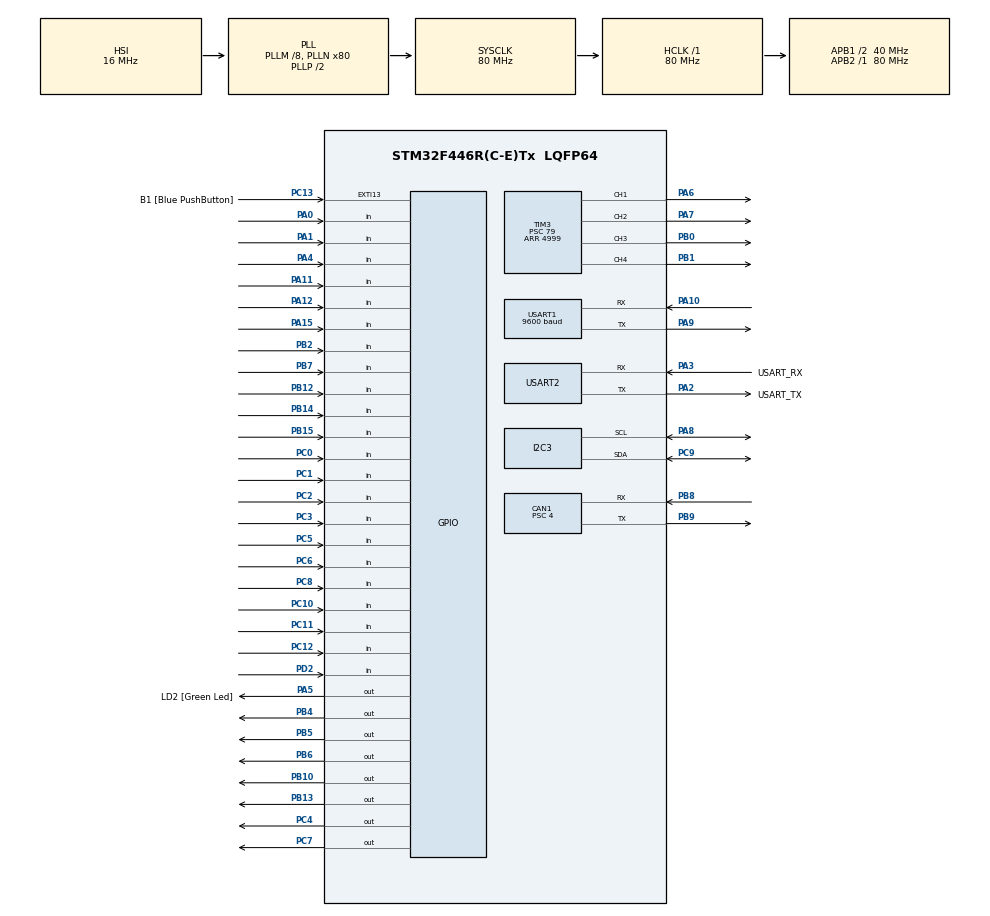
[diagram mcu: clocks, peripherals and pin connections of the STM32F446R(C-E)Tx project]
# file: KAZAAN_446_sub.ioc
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CAN1.BS1=CAN_BS1_15TQ
CAN1.BS2=CAN_BS2_4TQ
CAN1.CalculateBaudRate=500000
CAN1.CalculateTimeBit=2000.00
CAN1.CalculateTimeQuantum=100.0
CAN1.Prescaler=4
Dma.I2C3_RX.4.Direction=DMA_PERIPH_TO_MEMORY
Dma.I2C3_RX.4.FIFOMode=DMA_FIFOMODE_DISABLE
Dma.I2C3_RX.4.Instance=DMA1_Stream1
Dma.I2C3_RX.4.MemDataAlignment=DMA_MDATAALIGN_BYTE
Dma.I2C3_RX.4.MemInc=DMA_MINC_ENABLE
Dma.I2C3_RX.4.Mode=DMA_NORMAL
Dma.I2C3_RX.4.PeriphDataAlignment=DMA_PDATAALIGN_BYTE
Dma.I2C3_RX.4.PeriphInc=DMA_PINC_DISABLE
Dma.I2C3_RX.4.Priority=DMA_PRIORITY_LOW
Dma.I2C3_TX.5.Direction=DMA_MEMORY_TO_PERIPH
Dma.I2C3_TX.5.FIFOMode=DMA_FIFOMODE_DISABLE
Dma.I2C3_TX.5.Instance=DMA1_Stream4
Dma.I2C3_TX.5.MemDataAlignment=DMA_MDATAALIGN_BYTE
Dma.I2C3_TX.5.MemInc=DMA_MINC_ENABLE
Dma.I2C3_TX.5.Mode=DMA_NORMAL
Dma.I2C3_TX.5.PeriphDataAlignment=DMA_PDATAALIGN_BYTE
Dma.I2C3_TX.5.PeriphInc=DMA_PINC_DISABLE
Dma.I2C3_TX.5.Priority=DMA_PRIORITY_LOW
Dma.Request0=USART1_RX
Dma.Request1=USART1_TX
Dma.Request2=USART2_RX
Dma.Request3=USART2_TX
Dma.Request4=I2C3_RX
Dma.Request5=I2C3_TX
Dma.USART1_RX.0.Direction=DMA_PERIPH_TO_MEMORY
Dma.USART1_RX.0.FIFOMode=DMA_FIFOMODE_DISABLE
Dma.USART1_RX.0.Instance=DMA2_Stream2
Dma.USART1_RX.0.MemDataAlignment=DMA_MDATAALIGN_BYTE
Dma.USART1_RX.0.MemInc=DMA_MINC_ENABLE
Dma.USART1_RX.0.Mode=DMA_NORMAL
Dma.USART1_RX.0.PeriphDataAlignment=DMA_PDATAALIGN_BYTE
Dma.USART1_RX.0.PeriphInc=DMA_PINC_DISABLE
Dma.USART1_RX.0.Priority=DMA_PRIORITY_LOW
Dma.USART1_TX.1.Direction=DMA_MEMORY_TO_PERIPH
Dma.USART1_TX.1.FIFOMode=DMA_FIFOMODE_DISABLE
Dma.USART1_TX.1.Instance=DMA2_Stream7
Dma.USART1_TX.1.MemDataAlignment=DMA_MDATAALIGN_BYTE
Dma.USART1_TX.1.MemInc=DMA_MINC_ENABLE
Dma.USART1_TX.1.Mode=DMA_NORMAL
Dma.USART1_TX.1.PeriphDataAlignment=DMA_PDATAALIGN_BYTE
Dma.USART1_TX.1.PeriphInc=DMA_PINC_DISABLE
Dma.USART1_TX.1.Priority=DMA_PRIORITY_LOW
Dma.USART2_RX.2.Direction=DMA_PERIPH_TO_MEMORY
Dma.USART2_RX.2.FIFOMode=DMA_FIFOMODE_DISABLE
Dma.USART2_RX.2.Instance=DMA1_Stream5
Dma.USART2_RX.2.MemDataAlignment=DMA_MDATAALIGN_BYTE
Dma.USART2_RX.2.MemInc=DMA_MINC_ENABLE
Dma.USART2_RX.2.Mode=DMA_NORMAL
Dma.USART2_RX.2.PeriphDataAlignment=DMA_PDATAALIGN_BYTE
Dma.USART2_RX.2.PeriphInc=DMA_PINC_DISABLE
Dma.USART2_RX.2.Priority=DMA_PRIORITY_LOW
Dma.USART2_TX.3.Direction=DMA_MEMORY_TO_PERIPH
Dma.USART2_TX.3.FIFOMode=DMA_FIFOMODE_DISABLE
Dma.USART2_TX.3.Instance=DMA1_Stream6
Dma.USART2_TX.3.MemDataAlignment=DMA_MDATAALIGN_BYTE
Dma.USART2_TX.3.MemInc=DMA_MINC_ENABLE
Dma.USART2_TX.3.Mode=DMA_NORMAL
Dma.USART2_TX.3.PeriphDataAlignment=DMA_PDATAALIGN_BYTE
Dma.USART2_TX.3.PeriphInc=DMA_PINC_DISABLE
Dma.USART2_TX.3.Priority=DMA_PRIORITY_LOW
Mcu.Family=STM32F4
Mcu.Name=STM32F446R(C-E)Tx
Mcu.Package=LQFP64
NVIC.CAN1_RX0_IRQn=true\:0\:0\:false\:false\:true\:true\:true
NVIC.CAN1_RX1_IRQn=true\:0\:0\:false\:false\:true\:true\:true
NVIC.CAN1_SCE_IRQn=true\:0\:0\:false\:false\:true\:true\:true
NVIC.CAN1_TX_IRQn=true\:0\:0\:false\:false\:true\:true\:true
NVIC.DMA1_Stream1_IRQn=true\:0\:0\:false\:false\:true\:false\:true
NVIC.DMA1_Stream4_IRQn=true\:0\:0\:false\:false\:true\:false\:true
NVIC.DMA1_Stream5_IRQn=true\:0\:0\:false\:false\:true\:false\:true
NVIC.DMA1_Stream6_IRQn=true\:0\:0\:false\:false\:true\:false\:true
NVIC.DMA2_Stream2_IRQn=true\:0\:0\:false\:false\:true\:false\:true
NVIC.DMA2_Stream7_IRQn=true\:0\:0\:false\:false\:true\:false\:true
NVIC.I2C3_ER_IRQn=true\:0\:0\:false\:false\:true\:true\:true
NVIC.I2C3_EV_IRQn=true\:0\:0\:false\:false\:true\:true\:true
NVIC.PriorityGroup=NVIC_PRIORITYGROUP_0
NVIC.USART1_IRQn=true\:0\:0\:false\:false\:true\:true\:true
NVIC.USART2_IRQn=true\:0\:0\:false\:false\:true\:true\:true
PA0-WKUP.GPIO_PuPd=GPIO_PULLUP
PA0-WKUP.Signal=GPIO_Input
PA1.GPIO_PuPd=GPIO_PULLUP
PA1.Signal=GPIO_Input
PA10.Mode=Asynchronous
PA10.Signal=USART1_RX
PA11.GPIO_PuPd=GPIO_PULLUP
PA11.Signal=GPIO_Input
PA12.GPIO_PuPd=GPIO_PULLUP
PA12.Signal=GPIO_Input
PA13.GPIO_Label=TMS
PA13.Mode=Serial_Wire
PA13.Signal=SYS_JTMS-SWDIO
PA14.GPIO_Label=TCK
PA14.Mode=Serial_Wire
PA14.Signal=SYS_JTCK-SWCLK
PA15.GPIO_PuPd=GPIO_PULLUP
PA15.Signal=GPIO_Input
PA2.GPIO_Label=USART_TX
PA2.Mode=Asynchronous
PA2.Signal=USART2_TX
PA3.GPIO_Label=USART_RX
PA3.Mode=Asynchronous
PA3.Signal=USART2_RX
PA4.GPIO_PuPd=GPIO_PULLUP
PA4.Signal=GPIO_Input
PA5.GPIO_Label=LD2 [Green Led]
PA5.Signal=GPIO_Output
PA6.Signal=S_TIM3_CH1
PA7.Signal=S_TIM3_CH2
PA8.Mode=I2C
PA8.Signal=I2C3_SCL
PA9.Mode=Asynchronous
PA9.Signal=USART1_TX
PB0.Signal=S_TIM3_CH3
PB1.Signal=S_TIM3_CH4
PB10.Signal=GPIO_Output
PB12.GPIO_PuPd=GPIO_PULLUP
PB12.Signal=GPIO_Input
PB13.Signal=GPIO_Output
PB14.GPIO_PuPd=GPIO_PULLUP
PB14.Signal=GPIO_Input
PB15.GPIO_PuPd=GPIO_PULLUP
PB15.Signal=GPIO_Input
PB2.GPIO_PuPd=GPIO_PULLUP
PB2.Signal=GPIO_Input
PB3.GPIO_Label=SWO
PB3.Signal=SYS_JTDO-SWO
PB4.Signal=GPIO_Output
PB5.Signal=GPIO_Output
PB6.Signal=GPIO_Output
PB7.GPIO_PuPd=GPIO_PULLUP
PB7.Signal=GPIO_Input
PB8.Mode=CAN_Activate
PB8.Signal=CAN1_RX
PB9.Mode=CAN_Activate
PB9.Signal=CAN1_TX
PC0.GPIO_PuPd=GPIO_PULLUP
PC0.Signal=GPIO_Input
PC1.GPIO_PuPd=GPIO_PULLUP
PC1.Signal=GPIO_Input
PC10.GPIO_PuPd=GPIO_PULLUP
PC10.Signal=GPIO_Input
PC11.GPIO_PuPd=GPIO_PULLUP
PC11.Signal=GPIO_Input
PC12.GPIO_PuPd=GPIO_PULLUP
PC12.Signal=GPIO_Input
PC13.GPIO_Label=B1 [Blue PushButton]
PC13.GPIO_ModeDefaultEXTI=GPIO_MODE_IT_FALLING
PC13.Signal=GPXTI13
PC14-OSC32_IN.Mode=LSE-External-Oscillator
PC14-OSC32_IN.Signal=RCC_OSC32_IN
PC15-OSC32_OUT.Mode=LSE-External-Oscillator
PC15-OSC32_OUT.Signal=RCC_OSC32_OUT
PC2.GPIO_PuPd=GPIO_PULLUP
PC2.Signal=GPIO_Input
PC3.GPIO_PuPd=GPIO_PULLUP
PC3.Signal=GPIO_Input
PC4.Signal=GPIO_Output
PC5.GPIO_PuPd=GPIO_PULLUP
PC5.Signal=GPIO_Input
PC6.GPIO_PuPd=GPIO_PULLUP
PC6.Signal=GPIO_Input
PC7.Signal=GPIO_Output
PC8.GPIO_PuPd=GPIO_PULLUP
PC8.Signal=GPIO_Input
PC9.Mode=I2C
PC9.Signal=I2C3_SDA
PD2.GPIO_PuPd=GPIO_PULLUP
PD2.Signal=GPIO_Input
PH0-OSC_IN.Mode=HSE-External-Oscillator
PH0-OSC_IN.Signal=RCC_OSC_IN
PH1-OSC_OUT.Mode=HSE-External-Oscillator
PH1-OSC_OUT.Signal=RCC_OSC_OUT
ProjectManager.HeapSize=0x200
ProjectManager.StackSize=0x400
ProjectManager.TargetToolchain=STM32CubeIDE
RCC.48MHZClocksFreq_Value=84000000
RCC.AHBFreq_Value=80000000
RCC.APB1CLKDivider=RCC_HCLK_DIV2
RCC.APB1Freq_Value=40000000
RCC.APB1TimFreq_Value=80000000
RCC.APB2Freq_Value=80000000
RCC.APB2TimFreq_Value=80000000
RCC.CortexFreq_Value=80000000
RCC.FLatency-AdvancedSettings=FLASH_LATENCY_2
RCC.HCLKFreq_Value=80000000
RCC.HSE_VALUE=8000000
RCC.HSI_VALUE=16000000
RCC.PLLM=8
RCC.PLLN=80
RCC.SYSCLKFreq_VALUE=80000000
RCC.SYSCLKSource=RCC_SYSCLKSOURCE_PLLCLK
RCC.USBFreq_Value=80000000
RCC.VCOOutputFreq_Value=160000000
SH.S_TIM3_CH1.0=TIM3_CH1,PWM Generation1 CH1
SH.S_TIM3_CH2.0=TIM3_CH2,PWM Generation2 CH2
SH.S_TIM3_CH3.0=TIM3_CH3,PWM Generation3 CH3
SH.S_TIM3_CH4.0=TIM3_CH4,PWM Generation4 CH4
TIM3.Channel-PWM\ Generation1\ CH1=TIM_CHANNEL_1
TIM3.Channel-PWM\ Generation2\ CH2=TIM_CHANNEL_2
TIM3.Channel-PWM\ Generation3\ CH3=TIM_CHANNEL_3
TIM3.Channel-PWM\ Generation4\ CH4=TIM_CHANNEL_4
TIM3.Period=4999
TIM3.Prescaler=79
USART1.BaudRate=9600
USART1.VirtualMode=VM_ASYNC
USART2.VirtualMode=VM_ASYNC
VP_TIM3_VS_ClockSourceINT.Mode=Internal
board=NUCLEO-F446RE

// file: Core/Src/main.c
/* USER CODE BEGIN Header */
/**
  ******************************************************************************
  * @file           : main.c
  * @brief          : Main program body
  ******************************************************************************
  * @attention
  *
  * <h2><center>&copy; Copyright (c) 2023 STMicroelectronics.
  * All rights reserved.</center></h2>
  *
  * This software component is licensed by ST under BSD 3-Clause license,
  * the "License"; You may not use this file except in compliance with the
  * License. You may obtain a copy of the License at:
  *                        opensource.org/licenses/BSD-3-Clause
  *
  ******************************************************************************
  */
/* USER CODE END Header */
#include "main.h"

CAN_HandleTypeDef hcan1;

I2C_HandleTypeDef hi2c3;
DMA_HandleTypeDef hdma_i2c3_rx;
DMA_HandleTypeDef hdma_i2c3_tx;

TIM_HandleTypeDef htim3;

UART_HandleTypeDef huart1;
UART_HandleTypeDef huart2;
DMA_HandleTypeDef hdma_usart1_rx;
DMA_HandleTypeDef hdma_usart1_tx;
DMA_HandleTypeDef hdma_usart2_rx;
DMA_HandleTypeDef hdma_usart2_tx;

/* USER CODE BEGIN PV */
volatile uint32_t G_System_counter = 0;
/* USER CODE END PV */

void SystemClock_Config(void);
static void MX_GPIO_Init(void);
static void MX_DMA_Init(void);
static void MX_USART1_UART_Init(void);
static void MX_USART2_UART_Init(void);
static void MX_TIM3_Init(void);
static void MX_I2C3_Init(void);
static void MX_CAN1_Init(void);

int main(void)
{

  /* MCU Configuration--------------------------------------------------------*/

  /* Reset of all peripherals, Initializes the Flash interface and the Systick. */
  HAL_Init();

  /* Configure the system clock */
  SystemClock_Config();

  /* Initialize all configured peripherals */
  MX_GPIO_Init();
  MX_DMA_Init();
  MX_USART1_UART_Init();
  MX_USART2_UART_Init();
  MX_TIM3_Init();
  MX_I2C3_Init();
  MX_CAN1_Init();
  /* USER CODE BEGIN 2 */
  D_PWM_Init();
  D_CAN_Init();

  appInit();
  /* USER CODE END 2 */

  /* Infinite loop */
  /* USER CODE BEGIN WHILE */
  while (1)
  {
	  appTask();

	  //if(HAL_GPIO_ReadPin(GPIOC,GPIO_PIN_9) == 1){
		  //HAL_GPIO_WritePin(GPIOA,GPIO_PIN_5,GPIO_PIN_SET);
	  //}else if(HAL_GPIO_ReadPin(GPIOC,GPIO_PIN_9) == 0){
		  //HAL_GPIO_WritePin(GPIOA,GPIO_PIN_5,GPIO_PIN_RESET);
	  //}
	  /*if(HAL_GPIO_ReadPin(GPIOC,GPIO_PIN_13) == 0){
		  __HAL_TIM_SET_COMPARE(&htim3, TIM_CHANNEL_4, 50);
		  //__HAL_TIM_SET_COMPARE(&htim3, TIM_CHANNEL_2, 500);
		  HAL_GPIO_WritePin(GPIOC,GPIO_PIN_5,GPIO_PIN_SET);
		  //HAL_GPIO_WritePin(GPIOC,GPIO_PIN_6,GPIO_PIN_SET);
		  HAL_GPIO_WritePin(GPIOA,GPIO_PIN_5,GPIO_PIN_SET);

		  HAL_GPIO_WritePin(GPIOB,GPIO_PIN_14,GPIO_PIN_SET);
		  HAL_GPIO_WritePin(GPIOB,GPIO_PIN_15,GPIO_PIN_RESET);

		  D_Mess_printf("%d\n", G_System_counter);
		  D_Mess_flush();
	  }else if(HAL_GPIO_ReadPin(GPIOC,GPIO_PIN_13) == 1){
		  __HAL_TIM_SET_COMPARE(&htim3, TIM_CHANNEL_4, 2500);
		  //__HAL_TIM_SET_COMPARE(&htim3, TIM_CHANNEL_2, 100);
		  HAL_GPIO_WritePin(GPIOC,GPIO_PIN_5,GPIO_PIN_RESET);
		  HAL_GPIO_WritePin(GPIOC,GPIO_PIN_6,GPIO_PIN_RESET);
		  HAL_GPIO_WritePin(GPIOA,GPIO_PIN_5,GPIO_PIN_RESET);

		  HAL_GPIO_WritePin(GPIOB,GPIO_PIN_14,GPIO_PIN_RESET);
		  HAL_GPIO_WritePin(GPIOB,GPIO_PIN_15,GPIO_PIN_SET);
//		  D_Mess_printf("tes2");
//		  D_Mess_flush();
	  }*/
	  D_Mess_flush();
    /* USER CODE END WHILE */

  }
}

void SystemClock_Config(void)
{
  RCC_OscInitTypeDef RCC_OscInitStruct = {0};
  RCC_ClkInitTypeDef RCC_ClkInitStruct = {0};

  /** Configure the main internal regulator output voltage
  */
  __HAL_RCC_PWR_CLK_ENABLE();
  __HAL_PWR_VOLTAGESCALING_CONFIG(PWR_REGULATOR_VOLTAGE_SCALE3);
  /** Initializes the RCC Oscillators according to the specified parameters
  * in the RCC_OscInitTypeDef structure.
  */
  RCC_OscInitStruct.OscillatorType = RCC_OSCILLATORTYPE_HSI;
  RCC_OscInitStruct.HSIState = RCC_HSI_ON;
  RCC_OscInitStruct.HSICalibrationValue = RCC_HSICALIBRATION_DEFAULT;
  RCC_OscInitStruct.PLL.PLLState = RCC_PLL_ON;
  RCC_OscInitStruct.PLL.PLLSource = RCC_PLLSOURCE_HSI;
  RCC_OscInitStruct.PLL.PLLM = 8;
  RCC_OscInitStruct.PLL.PLLN = 80;
  RCC_OscInitStruct.PLL.PLLP = RCC_PLLP_DIV2;
  RCC_OscInitStruct.PLL.PLLQ = 2;
  RCC_OscInitStruct.PLL.PLLR = 2;
  if (HAL_RCC_OscConfig(&RCC_OscInitStruct) != HAL_OK)
  {
    Error_Handler();
  }
  /** Initializes the CPU, AHB and APB buses clocks
  */
  RCC_ClkInitStruct.ClockType = RCC_CLOCKTYPE_HCLK|RCC_CLOCKTYPE_SYSCLK
                              |RCC_CLOCKTYPE_PCLK1|RCC_CLOCKTYPE_PCLK2;
  RCC_ClkInitStruct.SYSCLKSource = RCC_SYSCLKSOURCE_PLLCLK;
  RCC_ClkInitStruct.AHBCLKDivider = RCC_SYSCLK_DIV1;
  RCC_ClkInitStruct.APB1CLKDivider = RCC_HCLK_DIV2;
  RCC_ClkInitStruct.APB2CLKDivider = RCC_HCLK_DIV1;

  if (HAL_RCC_ClockConfig(&RCC_ClkInitStruct, FLASH_LATENCY_2) != HAL_OK)
  {
    Error_Handler();
  }
}

static void MX_CAN1_Init(void)
{

  hcan1.Instance = CAN1;
  hcan1.Init.Prescaler = 4;
  hcan1.Init.Mode = CAN_MODE_NORMAL;
  hcan1.Init.SyncJumpWidth = CAN_SJW_1TQ;
  hcan1.Init.TimeSeg1 = CAN_BS1_15TQ;
  hcan1.Init.TimeSeg2 = CAN_BS2_4TQ;
  hcan1.Init.TimeTriggeredMode = DISABLE;
  hcan1.Init.AutoBusOff = DISABLE;
  hcan1.Init.AutoWakeUp = DISABLE;
  hcan1.Init.AutoRetransmission = DISABLE;
  hcan1.Init.ReceiveFifoLocked = DISABLE;
  hcan1.Init.TransmitFifoPriority = DISABLE;
  if (HAL_CAN_Init(&hcan1) != HAL_OK)
  {
    Error_Handler();
  }

}

static void MX_I2C3_Init(void)
{

  hi2c3.Instance = I2C3;
  hi2c3.Init.ClockSpeed = 100000;
  hi2c3.Init.DutyCycle = I2C_DUTYCYCLE_2;
  hi2c3.Init.OwnAddress1 = 0;
  hi2c3.Init.AddressingMode = I2C_ADDRESSINGMODE_7BIT;
  hi2c3.Init.DualAddressMode = I2C_DUALADDRESS_DISABLE;
  hi2c3.Init.OwnAddress2 = 0;
  hi2c3.Init.GeneralCallMode = I2C_GENERALCALL_DISABLE;
  hi2c3.Init.NoStretchMode = I2C_NOSTRETCH_DISABLE;
  if (HAL_I2C_Init(&hi2c3) != HAL_OK)
  {
    Error_Handler();
  }

}

static void MX_TIM3_Init(void)
{

  TIM_ClockConfigTypeDef sClockSourceConfig = {0};
  TIM_MasterConfigTypeDef sMasterConfig = {0};
  TIM_OC_InitTypeDef sConfigOC = {0};

  htim3.Instance = TIM3;
  htim3.Init.Prescaler = 79;
  htim3.Init.CounterMode = TIM_COUNTERMODE_UP;
  htim3.Init.Period = 4999;
  htim3.Init.ClockDivision = TIM_CLOCKDIVISION_DIV1;
  htim3.Init.AutoReloadPreload = TIM_AUTORELOAD_PRELOAD_DISABLE;
  if (HAL_TIM_Base_Init(&htim3) != HAL_OK)
  {
    Error_Handler();
  }
  sClockSourceConfig.ClockSource = TIM_CLOCKSOURCE_INTERNAL;
  if (HAL_TIM_ConfigClockSource(&htim3, &sClockSourceConfig) != HAL_OK)
  {
    Error_Handler();
  }
  if (HAL_TIM_PWM_Init(&htim3) != HAL_OK)
  {
    Error_Handler();
  }
  sMasterConfig.MasterOutputTrigger = TIM_TRGO_RESET;
  sMasterConfig.MasterSlaveMode = TIM_MASTERSLAVEMODE_DISABLE;
  if (HAL_TIMEx_MasterConfigSynchronization(&htim3, &sMasterConfig) != HAL_OK)
  {
    Error_Handler();
  }
  sConfigOC.OCMode = TIM_OCMODE_PWM1;
  sConfigOC.Pulse = 0;
  sConfigOC.OCPolarity = TIM_OCPOLARITY_HIGH;
  sConfigOC.OCFastMode = TIM_OCFAST_DISABLE;
  if (HAL_TIM_PWM_ConfigChannel(&htim3, &sConfigOC, TIM_CHANNEL_1) != HAL_OK)
  {
    Error_Handler();
  }
  if (HAL_TIM_PWM_ConfigChannel(&htim3, &sConfigOC, TIM_CHANNEL_2) != HAL_OK)
  {
    Error_Handler();
  }
  if (HAL_TIM_PWM_ConfigChannel(&htim3, &sConfigOC, TIM_CHANNEL_3) != HAL_OK)
  {
    Error_Handler();
  }
  if (HAL_TIM_PWM_ConfigChannel(&htim3, &sConfigOC, TIM_CHANNEL_4) != HAL_OK)
  {
    Error_Handler();
  }
  HAL_TIM_MspPostInit(&htim3);

}

static void MX_USART1_UART_Init(void)
{

  huart1.Instance = USART1;
  huart1.Init.BaudRate = 9600;
  huart1.Init.WordLength = UART_WORDLENGTH_8B;
  huart1.Init.StopBits = UART_STOPBITS_1;
  huart1.Init.Parity = UART_PARITY_NONE;
  huart1.Init.Mode = UART_MODE_TX_RX;
  huart1.Init.HwFlowCtl = UART_HWCONTROL_NONE;
  huart1.Init.OverSampling = UART_OVERSAMPLING_16;
  if (HAL_UART_Init(&huart1) != HAL_OK)
  {
    Error_Handler();
  }

}

static void MX_USART2_UART_Init(void)
{

  huart2.Instance = USART2;
  huart2.Init.BaudRate = 115200;
  huart2.Init.WordLength = UART_WORDLENGTH_8B;
  huart2.Init.StopBits = UART_STOPBITS_1;
  huart2.Init.Parity = UART_PARITY_NONE;
  huart2.Init.Mode = UART_MODE_TX_RX;
  huart2.Init.HwFlowCtl = UART_HWCONTROL_NONE;
  huart2.Init.OverSampling = UART_OVERSAMPLING_16;
  if (HAL_UART_Init(&huart2) != HAL_OK)
  {
    Error_Handler();
  }

}

static void MX_DMA_Init(void)
{

  /* DMA controller clock enable */
  __HAL_RCC_DMA2_CLK_ENABLE();
  __HAL_RCC_DMA1_CLK_ENABLE();

  /* DMA interrupt init */
  /* DMA1_Stream1_IRQn interrupt configuration */
  HAL_NVIC_SetPriority(DMA1_Stream1_IRQn, 0, 0);
  HAL_NVIC_EnableIRQ(DMA1_Stream1_IRQn);
  /* DMA1_Stream4_IRQn interrupt configuration */
  HAL_NVIC_SetPriority(DMA1_Stream4_IRQn, 0, 0);
  HAL_NVIC_EnableIRQ(DMA1_Stream4_IRQn);
  /* DMA1_Stream5_IRQn interrupt configuration */
  HAL_NVIC_SetPriority(DMA1_Stream5_IRQn, 0, 0);
  HAL_NVIC_EnableIRQ(DMA1_Stream5_IRQn);
  /* DMA1_Stream6_IRQn interrupt configuration */
  HAL_NVIC_SetPriority(DMA1_Stream6_IRQn, 0, 0);
  HAL_NVIC_EnableIRQ(DMA1_Stream6_IRQn);
  /* DMA2_Stream2_IRQn interrupt configuration */
  HAL_NVIC_SetPriority(DMA2_Stream2_IRQn, 0, 0);
  HAL_NVIC_EnableIRQ(DMA2_Stream2_IRQn);
  /* DMA2_Stream7_IRQn interrupt configuration */
  HAL_NVIC_SetPriority(DMA2_Stream7_IRQn, 0, 0);
  HAL_NVIC_EnableIRQ(DMA2_Stream7_IRQn);

}

static void MX_GPIO_Init(void)
{
  GPIO_InitTypeDef GPIO_InitStruct = {0};

  /* GPIO Ports Clock Enable */
  __HAL_RCC_GPIOC_CLK_ENABLE();
  __HAL_RCC_GPIOH_CLK_ENABLE();
  __HAL_RCC_GPIOA_CLK_ENABLE();
  __HAL_RCC_GPIOB_CLK_ENABLE();
  __HAL_RCC_GPIOD_CLK_ENABLE();

  /*Configure GPIO pin Output Level */
  HAL_GPIO_WritePin(LD2_GPIO_Port, LD2_Pin, GPIO_PIN_RESET);

  /*Configure GPIO pin Output Level */
  HAL_GPIO_WritePin(GPIOC, GPIO_PIN_4|GPIO_PIN_7, GPIO_PIN_RESET);

  /*Configure GPIO pin Output Level */
  HAL_GPIO_WritePin(GPIOB, GPIO_PIN_10|GPIO_PIN_13|GPIO_PIN_4|GPIO_PIN_5
                          |GPIO_PIN_6, GPIO_PIN_RESET);

  /*Configure GPIO pin : B1_Pin */
  GPIO_InitStruct.Pin = B1_Pin;
  GPIO_InitStruct.Mode = GPIO_MODE_IT_FALLING;
  GPIO_InitStruct.Pull = GPIO_NOPULL;
  HAL_GPIO_Init(B1_GPIO_Port, &GPIO_InitStruct);

  /*Configure GPIO pins : PC0 PC1 PC2 PC3
                           PC5 PC6 PC8 PC10
                           PC11 PC12 */
  GPIO_InitStruct.Pin = GPIO_PIN_0|GPIO_PIN_1|GPIO_PIN_2|GPIO_PIN_3
                          |GPIO_PIN_5|GPIO_PIN_6|GPIO_PIN_8|GPIO_PIN_10
                          |GPIO_PIN_11|GPIO_PIN_12;
  GPIO_InitStruct.Mode = GPIO_MODE_INPUT;
  GPIO_InitStruct.Pull = GPIO_PULLUP;
  HAL_GPIO_Init(GPIOC, &GPIO_InitStruct);

  /*Configure GPIO pins : PA0 PA1 PA4 PA11
                           PA12 PA15 */
  GPIO_InitStruct.Pin = GPIO_PIN_0|GPIO_PIN_1|GPIO_PIN_4|GPIO_PIN_11
                          |GPIO_PIN_12|GPIO_PIN_15;
  GPIO_InitStruct.Mode = GPIO_MODE_INPUT;
  GPIO_InitStruct.Pull = GPIO_PULLUP;
  HAL_GPIO_Init(GPIOA, &GPIO_InitStruct);

  /*Configure GPIO pin : LD2_Pin */
  GPIO_InitStruct.Pin = LD2_Pin;
  GPIO_InitStruct.Mode = GPIO_MODE_OUTPUT_PP;
  GPIO_InitStruct.Pull = GPIO_NOPULL;
  GPIO_InitStruct.Speed = GPIO_SPEED_FREQ_LOW;
  HAL_GPIO_Init(LD2_GPIO_Port, &GPIO_InitStruct);

  /*Configure GPIO pins : PC4 PC7 */
  GPIO_InitStruct.Pin = GPIO_PIN_4|GPIO_PIN_7;
  GPIO_InitStruct.Mode = GPIO_MODE_OUTPUT_PP;
  GPIO_InitStruct.Pull = GPIO_NOPULL;
  GPIO_InitStruct.Speed = GPIO_SPEED_FREQ_LOW;
  HAL_GPIO_Init(GPIOC, &GPIO_InitStruct);

  /*Configure GPIO pins : PB2 PB12 PB14 PB15
                           PB7 */
  GPIO_InitStruct.Pin = GPIO_PIN_2|GPIO_PIN_12|GPIO_PIN_14|GPIO_PIN_15
                          |GPIO_PIN_7;
  GPIO_InitStruct.Mode = GPIO_MODE_INPUT;
  GPIO_InitStruct.Pull = GPIO_PULLUP;
  HAL_GPIO_Init(GPIOB, &GPIO_InitStruct);

  /*Configure GPIO pins : PB10 PB13 PB4 PB5
                           PB6 */
  GPIO_InitStruct.Pin = GPIO_PIN_10|GPIO_PIN_13|GPIO_PIN_4|GPIO_PIN_5
                          |GPIO_PIN_6;
  GPIO_InitStruct.Mode = GPIO_MODE_OUTPUT_PP;
  GPIO_InitStruct.Pull = GPIO_NOPULL;
  GPIO_InitStruct.Speed = GPIO_SPEED_FREQ_LOW;
  HAL_GPIO_Init(GPIOB, &GPIO_InitStruct);

  /*Configure GPIO pin : PD2 */
  GPIO_InitStruct.Pin = GPIO_PIN_2;
  GPIO_InitStruct.Mode = GPIO_MODE_INPUT;
  GPIO_InitStruct.Pull = GPIO_PULLUP;
  HAL_GPIO_Init(GPIOD, &GPIO_InitStruct);

}

/* USER CODE BEGIN 4 */
void HAL_UART_TxCpltCallback(UART_HandleTypeDef *UartHandle){
  UNUSED(UartHandle);
  if(UartHandle->Instance == USART2){
	  D_Mess_TransitionCompletedCallBack();
  }
}
void HAL_UART_RxCpltCallback(UART_HandleTypeDef *UartHandle){
  UNUSED(UartHandle);
  if(UartHandle->Instance == USART2){
	  D_Mess_ReceptionCompletedCallBack();
  }
}
void HAL_I2C_SlaveTxCpltCallback(I2C_HandleTypeDef *hi2c){
  UNUSED(hi2c);
  if(hi2c->Instance == I2C3){
	  D_I2C3_TransitionCompletedCallBack();
  }
}
void HAL_I2C_SlaveRxCpltCallback(I2C_HandleTypeDef *hi2c){
  UNUSED(hi2c);
  if(hi2c->Instance == I2C3){
	  D_I2C3_ReceptionCompletedCallBack();
  }
}
void HAL_CAN_RxFifo0MsgPendingCallback(CAN_HandleTypeDef *hcan){
  D_CAN_ReceiveCallBack(hcan);
  //HAL_GPIO_TogglePin(GPIOA, GPIO_PIN_5);
}
/* USER CODE END 4 */

void Error_Handler(void)
{
  __disable_irq();
  while (1)
  {
  }
}

/************************ (C) COPYRIGHT STMicroelectronics *****END OF FILE****/
